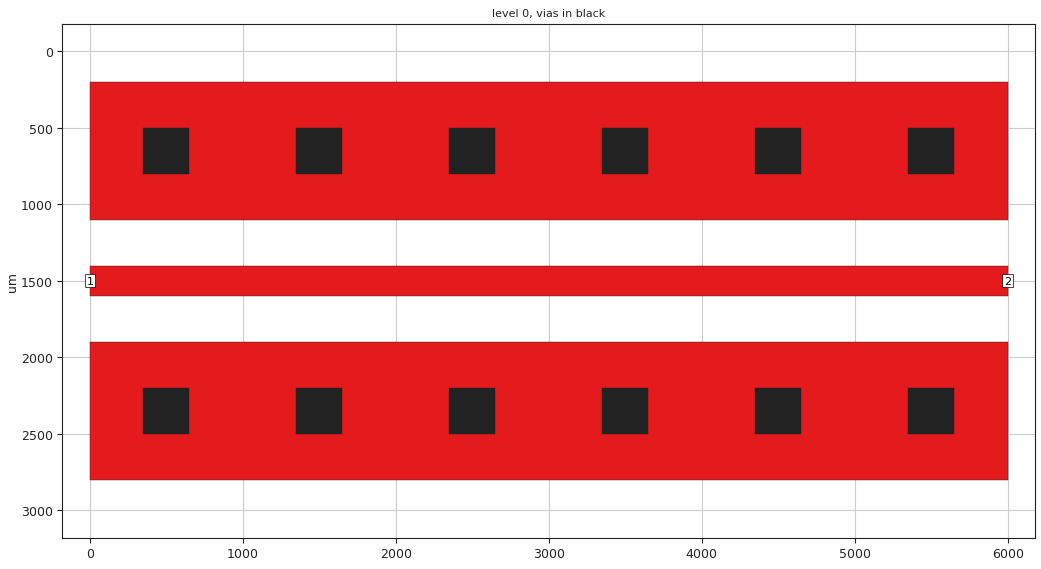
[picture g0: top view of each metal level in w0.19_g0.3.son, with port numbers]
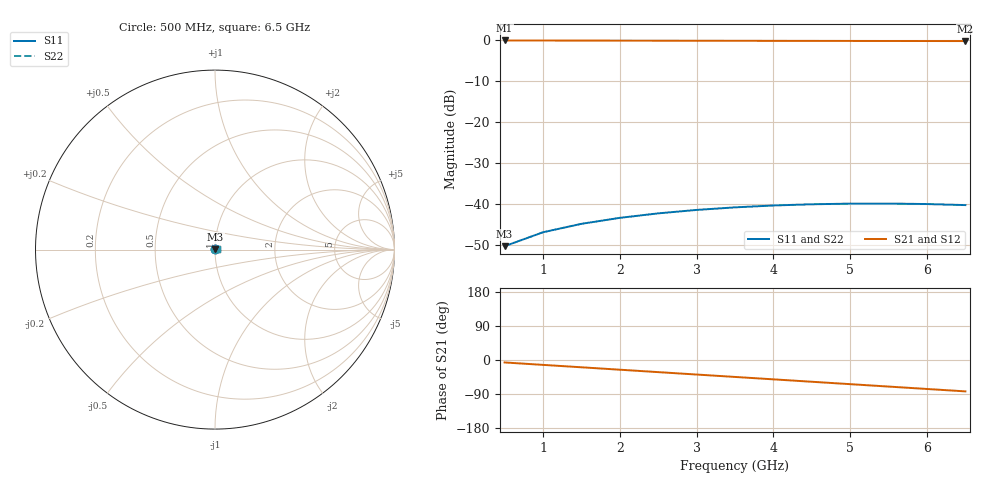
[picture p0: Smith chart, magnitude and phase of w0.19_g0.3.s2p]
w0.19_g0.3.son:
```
FTYP SONPROJ 1 ! Sonnet Project File
VER 19.54
HEADER
END HEADER
DIM
FREQ GHZ
IND NH
LNG UM
ANG DEG
CON /OH
CAP PF
RES OH
END DIM
FREQ
SWEEP 0.5 6.5 0.5
END FREQ
CONTROL
STD
OPTIONS  -d
SPEED 0
END CONTROL
GEO
TMET "Lossless" 0 SUP 0 0 0 0
BMET "Lossless" 0 SUP 0 0 0 0
MET "Cu35" 1 NOR 5.8e7 0 35
BOX 1 6000.0 3000.0 600 300 20 0
      1000.0 1 1 0 0 0 0 "Air"
      99.4 4.1000 1 0.0200 0 0 0 "PP3313"
POR1 STD
POLY 1 1
3
1 50 0 0 0 0.0 1500.0
POR1 STD
POLY 1 1
1
2 50 0 0 0 6000.0 1500.0
NUM 15
0 5 0 N 1 1 1 100 100 0 0 0 Y
0.0 1400.0
6000.0 1400.0
6000.0 1600.0
0.0 1600.0
0.0 1400.0
END
0 5 0 N 2 1 1 100 100 0 0 0 Y
0.0 200.0
6000.0 200.0
6000.0 1100.0
0.0 1100.0
0.0 200.0
END
0 5 0 N 3 1 1 100 100 0 0 0 Y
0.0 1900.0
6000.0 1900.0
6000.0 2800.0
0.0 2800.0
0.0 1900.0
END
VIA POLYGON
0 5 0 V 100 1 1 100 100 0 0 0 Y
TOLEVEL GND RING COVERS
350.0 500.0
650.0 500.0
650.0 800.0
350.0 800.0
350.0 500.0
END
VIA POLYGON
0 5 0 V 101 1 1 100 100 0 0 0 Y
TOLEVEL GND RING COVERS
350.0 2200.0
650.0 2200.0
650.0 2500.0
350.0 2500.0
350.0 2200.0
END
VIA POLYGON
0 5 0 V 102 1 1 100 100 0 0 0 Y
TOLEVEL GND RING COVERS
1350.0 500.0
1650.0 500.0
1650.0 800.0
1350.0 800.0
1350.0 500.0
END
VIA POLYGON
0 5 0 V 103 1 1 100 100 0 0 0 Y
TOLEVEL GND RING COVERS
1350.0 2200.0
1650.0 2200.0
1650.0 2500.0
1350.0 2500.0
1350.0 2200.0
END
VIA POLYGON
0 5 0 V 104 1 1 100 100 0 0 0 Y
TOLEVEL GND RING COVERS
2350.0 500.0
2650.0 500.0
2650.0 800.0
2350.0 800.0
2350.0 500.0
END
VIA POLYGON
0 5 0 V 105 1 1 100 100 0 0 0 Y
TOLEVEL GND RING COVERS
2350.0 2200.0
2650.0 2200.0
2650.0 2500.0
2350.0 2500.0
2350.0 2200.0
END
VIA POLYGON
0 5 0 V 106 1 1 100 100 0 0 0 Y
TOLEVEL GND RING COVERS
3350.0 500.0
3650.0 500.0
3650.0 800.0
3350.0 800.0
3350.0 500.0
END
VIA POLYGON
0 5 0 V 107 1 1 100 100 0 0 0 Y
TOLEVEL GND RING COVERS
3350.0 2200.0
3650.0 2200.0
3650.0 2500.0
3350.0 2500.0
3350.0 2200.0
END
VIA POLYGON
0 5 0 V 108 1 1 100 100 0 0 0 Y
TOLEVEL GND RING COVERS
4350.0 500.0
4650.0 500.0
4650.0 800.0
4350.0 800.0
4350.0 500.0
END
VIA POLYGON
0 5 0 V 109 1 1 100 100 0 0 0 Y
TOLEVEL GND RING COVERS
4350.0 2200.0
4650.0 2200.0
4650.0 2500.0
4350.0 2500.0
4350.0 2200.0
END
VIA POLYGON
0 5 0 V 110 1 1 100 100 0 0 0 Y
TOLEVEL GND RING COVERS
5350.0 500.0
5650.0 500.0
5650.0 800.0
5350.0 800.0
5350.0 500.0
END
VIA POLYGON
0 5 0 V 111 1 1 100 100 0 0 0 Y
TOLEVEL GND RING COVERS
5350.0 2200.0
5650.0 2200.0
5650.0 2500.0
5350.0 2500.0
5350.0 2200.0
END
END GEO
FILEOUT
TS D Y $BASENAME.s2p 15 S RI R 50.00000
END FILEOUT
```
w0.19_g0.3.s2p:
! Sonnet Data File
! From: em Version : 19.54.2026
! From Project: w0.19_g0.3
! Data is De-embedded
! Data File Written: 11/09/2026 23:36:42
!< HDATE 11/09/2026 23:35:50
!< MDATE 11/09/2026 23:35:50
# GHZ S RI R 50.00000
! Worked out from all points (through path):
!   13 points, 500 MHz to 6.5 GHz, reference 50 ohm
!   highest |S21| = -0.03 dB at 500 MHz (marker M1); lowest = -0.2 dB at 6.5 GHz (marker M2)
!   group delay of S21, straight-line fit = 35.3 ps
!   lowest |S11| = -50.4 dB at 500 MHz (marker M3), VSWR 1.01, Z = 50.1 + j0.27 ohm
!   |S11| at or under -10 dB: start of sweep to end of sweep
!   |S22| runs from -50.4 to -40.0 dB; largest |S21 - S12| = 1e-12
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0.5  0.00138 0.00269  0.9906 -0.1123  0.9906 -0.1123  0.00138 0.00269
1  0.00192 0.00404  0.9701 -0.2215  0.9701 -0.2215  0.00192 0.00404
1.5  0.00249 0.00509  0.938 -0.3274  0.938 -0.3274  0.00249 0.00509
2  0.00315 0.00593  0.8944 -0.4288  0.8944 -0.4288  0.00315 0.00593
2.5  0.00388 0.00655  0.8401 -0.5246  0.8401 -0.5246  0.00388 0.00655
3.5  0.00548 0.00717  0.7019 -0.6947  0.7019 -0.6947  0.00548 0.00717
4.5  0.00697 0.00695  0.5304 -0.8299  0.5304 -0.8299  0.00697 0.00695
5  0.00757 0.00656  0.4347 -0.8823  0.4347 -0.8823  0.00757 0.00656
5.5  0.00803 0.00602  0.3341 -0.9237  0.3341 -0.9237  0.00803 0.00602
6  0.00831 0.00538  0.2297 -0.9537  0.2297 -0.9537  0.00831 0.00538
6.5  0.0084 0.00468  0.1228 -0.972  0.1228 -0.972  0.0084 0.00468
